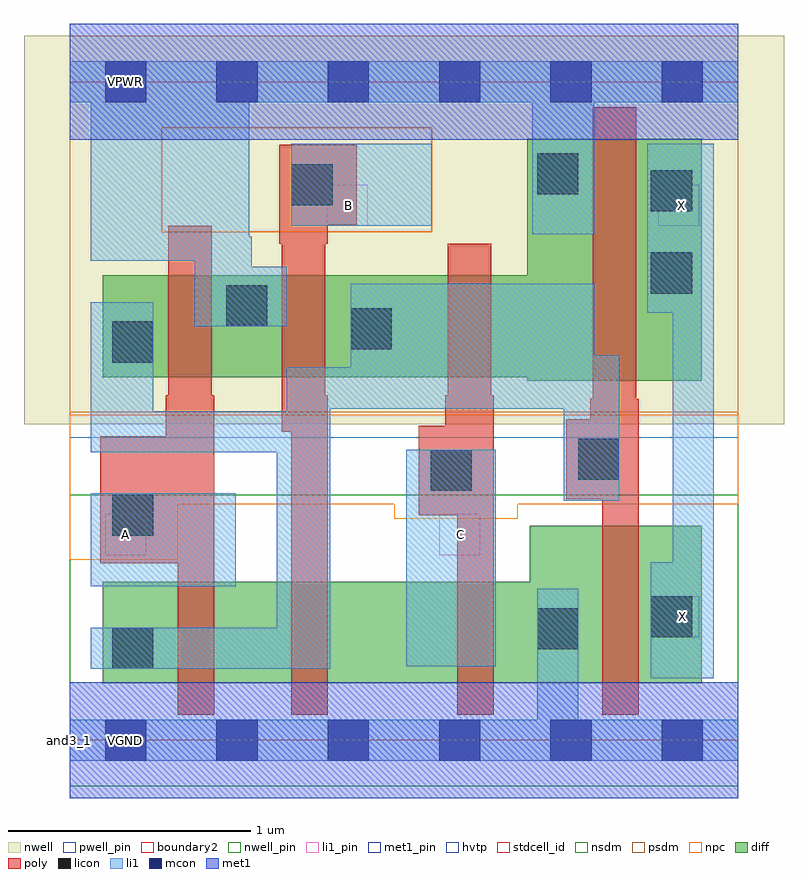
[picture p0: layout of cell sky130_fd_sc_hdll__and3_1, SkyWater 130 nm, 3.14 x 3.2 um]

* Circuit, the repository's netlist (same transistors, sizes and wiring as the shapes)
* Copyright 2020 The SkyWater PDK Authors
*
* Licensed under the Apache License, Version 2.0 (the "License");
* you may not use this file except in compliance with the License.
* You may obtain a copy of the License at
*
*     https://www.apache.org/licenses/LICENSE-2.0
*
* Unless required by applicable law or agreed to in writing, software
* distributed under the License is distributed on an "AS IS" BASIS,
* WITHOUT WARRANTIES OR CONDITIONS OF ANY KIND, either express or implied.
* See the License for the specific language governing permissions and
* limitations under the License.
*
* SPDX-License-Identifier: Apache-2.0

.SUBCKT sky130_fd_sc_hdll__and3_1 A B C VGND VNB VPB VPWR X
*.PININFO A:I B:I C:I VGND:I VNB:I VPB:I VPWR:I X:O
MMP0 y A VPWR VPB sky130_fd_pr__pfet_01v8_hvt m=1 w=0.42U l=0.18U mult=1 sa=0.265
+ sb=0.265 sd=0.28 area=0.063 perim=1.14
MMP1 y B VPWR VPB sky130_fd_pr__pfet_01v8_hvt m=1 w=0.42U l=0.18U mult=1 sa=0.265
+ sb=0.265 sd=0.28 area=0.063 perim=1.14
MMP2 y C VPWR VPB sky130_fd_pr__pfet_01v8_hvt m=1 w=0.42U l=0.18U mult=1 sa=0.265
+ sb=0.265 sd=0.28 area=0.063 perim=1.14
MMIP0 X y VPWR VPB sky130_fd_pr__pfet_01v8_hvt m=1 w=1.0U l=0.18U mult=1 sa=0.265
+ sb=0.265 sd=0.28 area=0.063 perim=1.14
MMN0 y A sndA VNB sky130_fd_pr__nfet_01v8 m=1 w=0.42U l=0.15U mult=1 sa=0.265 sb=0.265
+ sd=0.28 area=0.063 perim=1.14
MMN1 sndA B sndB VNB sky130_fd_pr__nfet_01v8 m=1 w=0.42U l=0.15U mult=1 sa=0.265
+ sb=0.265 sd=0.28 area=0.063 perim=1.14
MMN2 sndB C VGND VNB sky130_fd_pr__nfet_01v8 m=1 w=0.42U l=0.15U mult=1 sa=0.265
+ sb=0.265 sd=0.28 area=0.063 perim=1.14
MMIN0 X y VGND VNB sky130_fd_pr__nfet_01v8 m=1 w=0.65U l=0.15U mult=1 sa=0.265
+ sb=0.265 sd=0.28 area=0.063 perim=1.14
.ENDS sky130_fd_sc_hdll__and3_1

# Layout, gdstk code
import gdstk
lib = gdstk.Library(unit=1e-6, precision=1e-09)
def R(c, l, rs):  # rectangles x0, y0, x1, y1
    for r in rs: c.add(gdstk.rectangle(r[:2], r[2:], *l))
def A(c, l, x, y, w, h, nx, ny, dx, dy):  # array of equal rectangles
    R(c, l, [(x+i*dx, y+j*dy, x+i*dx+w, y+j*dy+h) for i in range(nx) for j in range(ny)])
def P(c, l, *ps):  # polygons
    for p in ps: c.add(gdstk.Polygon(p, *l))
nwell_pin = (64, 16)
nwell = (64, 20)
diff = (65, 20)
poly = (66, 20)
licon = (66, 44)
li1_pin = (67, 16)
li1 = (67, 20)
mcon = (67, 44)
met1_pin = (68, 16)
met1 = (68, 20)
hvtp = (78, 44)
stdcell_id = (81, 4)
nsdm = (93, 44)
psdm = (94, 20)
npc = (95, 20)
pwell_pin = (122, 16)
boundary2 = (236, 0)

sky130_fd_sc_hdll__and3_ = lib.new_cell('sky130_fd_sc_hdll__and3_1')
R(sky130_fd_sc_hdll__and3_, nwell_pin, [(0.145,2.635,0.315,2.805)])
R(sky130_fd_sc_hdll__and3_, nwell, [(-0.19,1.305,2.95,2.91)])
P(sky130_fd_sc_hdll__and3_, diff, [(2.61,0.885),(1.9,0.885),(1.9,0.655),(0.135,0.655),(0.135,0.235),(2.61,0.235)],
  [(2.61,2.485),(1.89,2.485),(1.89,1.92),(0.135,1.92),(0.135,1.5),(1.89,1.5),(1.89,1.485),(2.61,1.485)])
P(sky130_fd_sc_hdll__and3_, poly, [(0.595,1.425),(0.585,1.425),(0.585,2.125),(0.405,2.125),(0.405,1.425),(0.395,1.425),(0.395,1.255),(0.125,1.255),(0.125,0.73),(0.445,0.73),(0.445,0.105),(0.595,0.105)],
  [(1.185,2.46),(0.865,2.46),(0.865,2.05),(0.875,2.05),(0.875,1.275),(0.915,1.275),(0.915,0.105),(1.065,0.105),(1.065,1.425),(1.055,1.425),(1.055,2.05),(1.065,2.05),(1.065,2.13),(1.185,2.13)],
  [(1.75,1.425),(1.74,1.425),(1.74,2.05),(1.56,2.05),(1.56,1.425),(1.55,1.425),(1.55,1.3),(1.44,1.3),(1.44,0.93),(1.6,0.93),(1.6,0.105),(1.75,0.105)],
  [(2.35,1.41),(2.34,1.41),(2.34,2.615),(2.16,2.615),(2.16,1.41),(2.15,1.41),(2.15,1.325),(2.05,1.325),(2.05,0.995),(2.2,0.995),(2.2,0.105),(2.35,0.105)])
R(sky130_fd_sc_hdll__and3_, licon, [(0.175,0.295,0.345,0.465), (1.93,0.375,2.1,0.545), (2.4,0.425,2.57,0.595), (0.175,0.845,0.345,1.015), (1.49,1.03,1.66,1.2), (2.1,1.075,2.27,1.245), (0.175,1.56,0.345,1.73), (1.16,1.615,1.33,1.785), (0.645,1.71,0.815,1.88), (2.4,1.845,2.57,2.015), (2.4,2.185,2.57,2.355), (0.915,2.21,1.085,2.38), (1.93,2.255,2.1,2.425)])
R(sky130_fd_sc_hdll__and3_, li1_pin, [(2.43,0.425,2.6,0.595), (0.145,0.765,0.315,0.935), (1.525,0.765,1.695,0.935), (1.06,2.125,1.23,2.295), (2.43,2.125,2.6,2.295)])
R(sky130_fd_sc_hdll__and3_, li1, [(1.39,0.305,1.76,1.2), (0.085,0.635,0.685,1.02), (0.085,1.36,0.345,1.81), (0.915,2.125,1.495,2.465)])
P(sky130_fd_sc_hdll__and3_, li1, [(2.27,1.59),(2.165,1.59),(2.165,1.885),(1.16,1.885),(1.16,1.54),(0.895,1.54),(0.895,1.36),(0.085,1.36),(0.085,1.19),(0.855,1.19),(0.855,0.465),(0.085,0.465),(0.085,0.295),(1.075,0.295),(1.075,1.37),(2.04,1.37),(2.04,0.99),(2.27,0.99)],
  [(2.66,2.465),(2.385,2.465),(2.385,1.765),(2.49,1.765),(2.49,0.735),(2.4,0.735),(2.4,0.255),(2.66,0.255)],
  [(2.76,2.805),(0,2.805),(0,2.635),(1.91,2.635),(1.91,2.09),(2.165,2.09),(2.165,2.635),(2.76,2.635)],
  [(2.76,0.085),(2.1,0.085),(2.1,0.625),(1.93,0.625),(1.93,0.085),(0,0.085),(0,-0.085),(2.76,-0.085)],
  [(0.895,1.955),(0.75,1.955),(0.75,2.08),(0.74,2.08),(0.74,2.635),(0.085,2.635),(0.085,1.98),(0.515,1.98),(0.515,1.71),(0.895,1.71)])
A(sky130_fd_sc_hdll__and3_, mcon, 0.145, -0.085, 0.17, 0.17, 6, 2, 0.46, 2.72)
R(sky130_fd_sc_hdll__and3_, met1_pin, [(0.145,-0.085,0.315,0.085), (0.145,2.635,0.315,2.805)])
R(sky130_fd_sc_hdll__and3_, met1, [(0,-0.24,2.76,0.24), (0,2.48,2.76,2.96)])
R(sky130_fd_sc_hdll__and3_, hvtp, [(0,1.25,2.76,2.72)])
R(sky130_fd_sc_hdll__and3_, stdcell_id, [(0,0,2.76,2.72)])
R(sky130_fd_sc_hdll__and3_, nsdm, [(0,-0.19,2.76,1.015)])
P(sky130_fd_sc_hdll__and3_, psdm, [(2.76,2.91),(1.495,2.91),(1.495,2.1),(0.38,2.1),(0.38,2.53),(1.495,2.53),(1.495,2.91),(0,2.91),(0,1.355),(2.76,1.355)])
R(sky130_fd_sc_hdll__and3_, npc, [(0,0.745,0.445,1.015), (0.38,2.1,1.495,2.53)])
P(sky130_fd_sc_hdll__and3_, npc, [(2.76,1.345),(0,1.345),(0,0.975),(1.34,0.975),(1.34,0.915),(1.85,0.915),(1.85,0.975),(2.76,0.975)])
R(sky130_fd_sc_hdll__and3_, pwell_pin, [(0.145,-0.085,0.315,0.085)])
R(sky130_fd_sc_hdll__and3_, boundary2, [(0,0,2.76,2.72)])
sky130_fd_sc_hdll__and3_.add(gdstk.Label('VGND', (0.23,0), layer=68, texttype=5))
sky130_fd_sc_hdll__and3_.add(gdstk.Label('VPWR', (0.23,2.72), layer=68, texttype=5))
sky130_fd_sc_hdll__and3_.add(gdstk.Label('X', (2.525,2.21), layer=67, texttype=5))
sky130_fd_sc_hdll__and3_.add(gdstk.Label('X', (2.53,0.51), layer=67, texttype=5))
sky130_fd_sc_hdll__and3_.add(gdstk.Label('B', (1.15,2.21), layer=67, texttype=5))
sky130_fd_sc_hdll__and3_.add(gdstk.Label('A', (0.23,0.85), layer=67, texttype=5))
sky130_fd_sc_hdll__and3_.add(gdstk.Label('C', (1.615,0.85), layer=67, texttype=5))
sky130_fd_sc_hdll__and3_.add(gdstk.Label('VPB', (0.23,2.72), layer=64, texttype=5))
sky130_fd_sc_hdll__and3_.add(gdstk.Label('VNB', (0.23,0), layer=64, texttype=59))
sky130_fd_sc_hdll__and3_.add(gdstk.Label('and3_1', (0,0), layer=83, texttype=44))

lib.write_gds('sky130_fd_sc_hdll__and3_1.gds')
